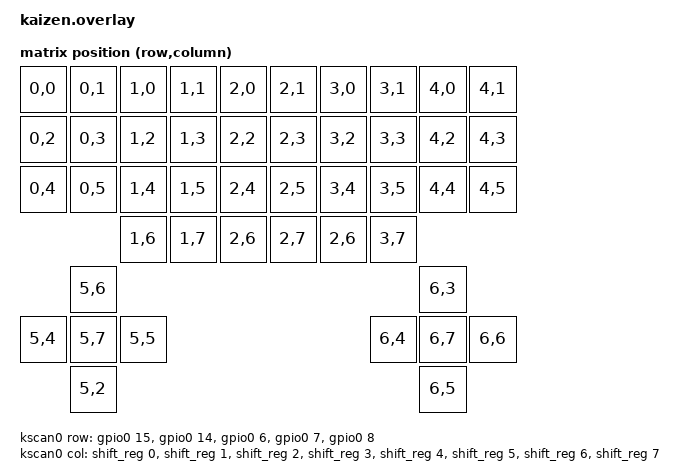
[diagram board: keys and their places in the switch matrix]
#include <dt-bindings/zmk/matrix_transform.h>

#define VIK_SPI_REG_START 1
#define VIK_SPI_CS_PREFIX <&gpio0 5 GPIO_ACTIVE_LOW>

&spi0 {
    status = "okay";
    cs-gpios = VIK_SPI_CS_PREFIX;
    shift_reg: 595@0 {
        compatible = "zmk,gpio-595";
        status = "okay";
        gpio-controller;
        spi-max-frequency = <200000>;
        reg = <0>;
        #gpio-cells = <2>;
        ngpios = <8>;
    };
};

/ {
    chosen {
        zmk,kscan = &kscan0;
        zmk,matrix_transform = &default_transform;
    };

    default_transform: keymap_transform_0 {
        compatible = "zmk,matrix-transform";
        columns = <10>;
        rows = <4>;

/*
 *             | SW01 | SW02 | SW03 | SW04 | SW05 |  | SW06 | SW07 | SW08 | SW09 | SW10 |
 *             | SW11 | SW12 | SW13 | SW14 | SW15 |  | SW16 | SW17 | SW18 | SW19 | SW20 |
 *             | SW21 | SW22 | SW23 | SW24 | SW25 |  | SW26 | SW27 | SW28 | SW29 | SW30 |
 *                           | SW31 | SW32 | SW33 |  | SW34 | SW35 | SW36 |
 *
 *                    | SW37 |                                            | SW42 |
 *             | SW38 | SW39 | SW40 |                              | SW43 | SW44 | SW45 |
 *                    | SW41 |                                            | SW46 |
 */

        map = <
                RC(0,0) RC(0,1) RC(1,0) RC(1,1) RC(2,0)    RC(2,1) RC(3,0) RC(3,1) RC(4,0) RC(4,1)
                RC(0,2) RC(0,3) RC(1,2) RC(1,3) RC(2,2)    RC(2,3) RC(3,2) RC(3,3) RC(4,2) RC(4,3)
                RC(0,4) RC(0,5) RC(1,4) RC(1,5) RC(2,4)    RC(2,5) RC(3,4) RC(3,5) RC(4,4) RC(4,5)
                                RC(1,6) RC(1,7) RC(2,6)    RC(2,7) RC(2,6) RC(3,7)
                        RC(5,6)                                                    RC(6,3)
                RC(5,4) RC(5,7) RC(5,5)                                    RC(6,4) RC(6,7) RC(6,6)
                        RC(5,2)                                                    RC(6,5)
        >;
    };

    kscan0: kscan_0 {
        compatible = "zmk,kscan-gpio-matrix";
        diode-direction = "col2row";

        col-gpios
            = <&shift_reg 0 GPIO_ACTIVE_HIGH>
            , <&shift_reg 1 GPIO_ACTIVE_HIGH>
            , <&shift_reg 2 GPIO_ACTIVE_HIGH>
            , <&shift_reg 3 GPIO_ACTIVE_HIGH>
            , <&shift_reg 4 GPIO_ACTIVE_HIGH>
            , <&shift_reg 5 GPIO_ACTIVE_HIGH>
            , <&shift_reg 6 GPIO_ACTIVE_HIGH>
            , <&shift_reg 7 GPIO_ACTIVE_HIGH>
            ;

        row-gpios
            = <&gpio0 15 (GPIO_ACTIVE_HIGH | GPIO_PULL_DOWN)>
            , <&gpio0 14 (GPIO_ACTIVE_HIGH | GPIO_PULL_DOWN)>
            , <&gpio0 6 (GPIO_ACTIVE_HIGH | GPIO_PULL_DOWN)>
            , <&gpio0 7 (GPIO_ACTIVE_HIGH | GPIO_PULL_DOWN)>
            , <&gpio0 8 (GPIO_ACTIVE_HIGH | GPIO_PULL_DOWN)>
            ;
    };
};
